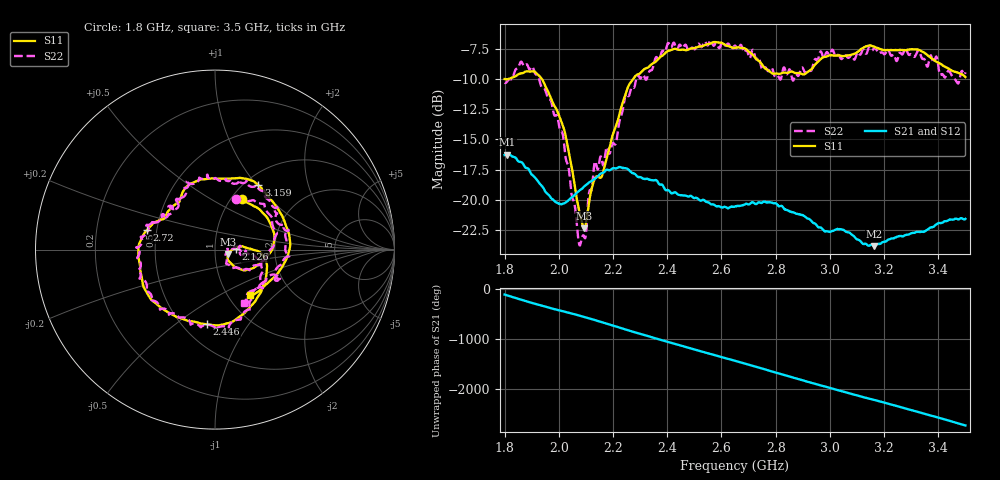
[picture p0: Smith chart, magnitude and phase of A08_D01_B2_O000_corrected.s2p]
! Created with skrf 1.9.0 (http://scikit-rf.org).
# Hz S RI R 50.0
!freq ReS11 ImS11 ReS21 ImS21 ReS12 ImS12 ReS22 ImS22
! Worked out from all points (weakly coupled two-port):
!   1601 points, 1.8 GHz to 3.5 GHz, reference 50 ohm
!   highest |S21| = -16.25 dB at 1.81 GHz (marker M1); lowest = -23.9 dB at 3.163 GHz (marker M2)
!   lowest |S11| = -22.4 dB at 2.093 GHz (marker M3), VSWR 1.16, Z = 57.7 - j2.86 ohm
!   |S11| at or under -10 dB: 1.803 GHz to 1.812 GHz (9.237 MHz wide, 0.511 % of centre); 1.938 GHz to 2.274 GHz (335.8 MHz wide, 15.9 % of centre)
!   |S22| runs from -23.8 to -6.8 dB; largest |S21 - S12| = 0.0031
!   S11 on the Smith chart (normalised r, x): 1.8 GHz: 1.12, +0.70; 2.126 GHz: 1.26, +0.01; 2.446 GHz: 0.65, -0.66; 2.72 GHz: 0.44, +0.11; 3.159 GHz: 1.15, +1.02; 3.5 GHz: 1.26, -0.72
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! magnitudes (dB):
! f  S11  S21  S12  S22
! 1.8 GHz  -10.0  -16.3  -16.3  -10.3
! 1.81 GHz  -10.0  -16.3  -16.3  -10.2
! 1.88 GHz  -9.3  -17.4  -17.4  -8.8
! 1.968 GHz  -11.4  -19.7  -19.8  -11.7
! 2.021 GHz  -14.3  -20.3  -20.3  -15.7
! 2.072 GHz  -20.6  -19.3  -19.4  -23.3
! 2.084 GHz  -21.8  -19.1  -19.1  -23.3
! 2.093 GHz  -22.4  -18.9  -19.0  -23.0
! 2.126 GHz  -18.7  -18.4  -18.4  -18.1
! 2.16 GHz  -18.0  -17.8  -17.7  -16.9
! 2.209 GHz  -14.0  -17.4  -17.4  -15.4
! 2.259 GHz  -10.5  -17.5  -17.6  -11.4
! 2.367 GHz  -8.3  -18.6  -18.6  -8.4
! 2.446 GHz  -7.6  -19.6  -19.6  -7.1
! 2.65 GHz  -7.4  -20.6  -20.5  -7.2
! 2.72 GHz  -8.1  -20.3  -20.2  -7.8
! 2.812 GHz  -9.6  -20.5  -20.4  -9.8
! 2.934 GHz  -9.1  -21.8  -21.8  -9.2
! 3.159 GHz  -7.3  -23.8  -23.8  -7.5
! 3.163 GHz  -7.3  -23.9  -23.8  -7.4
! 3.217 GHz  -7.6  -23.3  -23.3  -7.6
! 3.5 GHz  -9.8  -21.6  -21.6  -9.4
